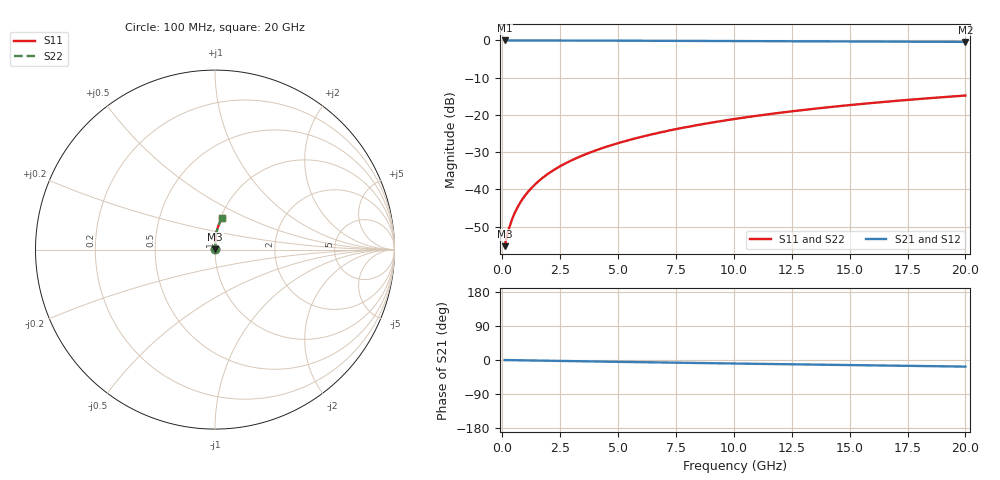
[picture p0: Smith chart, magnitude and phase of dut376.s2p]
! Touchstone file exported from HFSS 2024.1.0
!  File:  C:/UserFiles/LocalFiles/RDL_TSV_Batchsim/temp_RDL_top_376_1779609162.aedt
!  Generated:  03:55:16 PM May 24, 2026
!  Design:  RDL_top
!  Project:  temp_RDL_top_376_1779609162
!  Setup:  Setup1
!  Solution:  Sweep
! Variables:
!  dtsv = 10.80580581um
!  hbump = 3um
!  htsv = 58.5um
!  ldown = 100um
!  lrdl = 234.21um
!  p = 40
!  p1 = 41.36um
!  rhole = 1um
!  t = 450um
!  tdown = 3.915915916um
!  trdl = 3.31um
!  wdown = 15.38538539um
!  wrdl = 19.84um
# GHz S MA R 50.000000
! Terminal data exported
! Port[1] = Box2_T1
! Port[2] = Box2_T2
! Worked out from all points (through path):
!   200 points, 100 MHz to 20 GHz, reference 50 ohm
!   highest |S21| = -0.01 dB at 100 MHz (marker M1); lowest = -0.4 dB at 20 GHz (marker M2)
!   group delay of S21, straight-line fit = 2.4 ps
!   lowest |S11| = -55.2 dB at 100 MHz (marker M3), VSWR 1.00, Z = 50.1 + j0.0903 ohm
!   |S11| at or under -10 dB: start of sweep to end of sweep
!   |S22| runs from -55.2 to -14.8 dB; largest |S21 - S12| = 2e-15
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0.1  0.001736 31.2  0.9985 -0.1  0.9985 -0.1  0.001736 31.2
! Gamma 0 0 0 0
! Port Impedance 50 0 50 0
0.2  0.002348 49.1  0.9985 -0.2  0.9985 -0.2  0.002348 49.1
0.3  0.003067 58.6  0.9984 -0.3  0.9984 -0.3  0.003067 58.6
0.4  0.003814 64.3  0.9983 -0.4  0.9983 -0.4  0.003814 64.3
0.5  0.004568 68.2  0.9982 -0.5  0.9982 -0.5  0.004568 68.2
0.6  0.005328 71.0  0.9981 -0.6  0.9981 -0.6  0.005328 71.1
0.8  0.006864 75.1  0.998 -0.8  0.998 -0.8  0.006864 75.1
1.1  0.009206 78.8  0.9978 -1.1  0.9978 -1.1  0.009206 78.8
1.3  0.01079 80.5  0.9977 -1.3  0.9977 -1.3  0.01079 80.5
1.6  0.01318 82.2  0.9974 -1.6  0.9974 -1.6  0.01318 82.2
2.1  0.01723 84.2  0.9969 -2.1  0.9969 -2.1  0.01723 84.2
2.7  0.02217 85.6  0.9962 -2.7  0.9962 -2.7  0.02217 85.6
3.5  0.02888 86.7  0.9949 -3.4  0.9949 -3.4  0.02888 86.7
4.2  0.03487 87.2  0.9937 -4.1  0.9937 -4.1  0.03487 87.2
5  0.04185 87.5  0.9921 -4.8  0.9921 -4.8  0.04185 87.5
5.9  0.04987 87.6  0.9901 -5.7  0.9901 -5.7  0.04988 87.6
6.8  0.05805 87.4  0.9881 -6.5  0.9881 -6.5  0.05805 87.4
8.4  0.07289 86.8  0.9842 -7.9  0.9842 -7.9  0.07289 86.8
10.1  0.08894 85.7  0.9801 -9.4  0.9801 -9.4  0.08895 85.7
13.4  0.1204 83.1  0.9721 -12.1  0.9721 -12.1  0.1204 83.1
16.7  0.1516 80.2  0.9642 -14.8  0.9642 -14.8  0.1516 80.2
20  0.1822 77.2  0.9562 -17.4  0.9562 -17.4  0.1822 77.3
